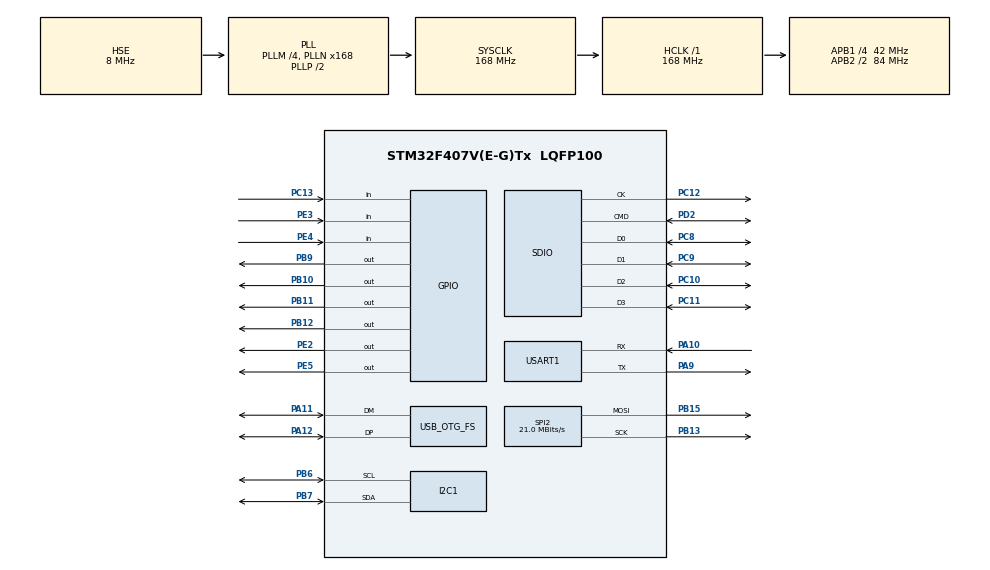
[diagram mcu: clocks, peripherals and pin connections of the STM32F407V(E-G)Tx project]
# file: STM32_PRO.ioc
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Dma.Request0=USART1_TX
Dma.Request1=USART1_RX
Dma.Request2=SPI2_TX
Dma.SPI2_TX.2.Direction=DMA_MEMORY_TO_PERIPH
Dma.SPI2_TX.2.FIFOMode=DMA_FIFOMODE_DISABLE
Dma.SPI2_TX.2.Instance=DMA1_Stream4
Dma.SPI2_TX.2.MemDataAlignment=DMA_MDATAALIGN_BYTE
Dma.SPI2_TX.2.MemInc=DMA_MINC_ENABLE
Dma.SPI2_TX.2.Mode=DMA_NORMAL
Dma.SPI2_TX.2.PeriphDataAlignment=DMA_PDATAALIGN_BYTE
Dma.SPI2_TX.2.PeriphInc=DMA_PINC_DISABLE
Dma.SPI2_TX.2.Priority=DMA_PRIORITY_LOW
Dma.USART1_RX.1.Direction=DMA_PERIPH_TO_MEMORY
Dma.USART1_RX.1.FIFOMode=DMA_FIFOMODE_DISABLE
Dma.USART1_RX.1.Instance=DMA2_Stream2
Dma.USART1_RX.1.MemDataAlignment=DMA_MDATAALIGN_BYTE
Dma.USART1_RX.1.MemInc=DMA_MINC_ENABLE
Dma.USART1_RX.1.Mode=DMA_NORMAL
Dma.USART1_RX.1.PeriphDataAlignment=DMA_PDATAALIGN_BYTE
Dma.USART1_RX.1.PeriphInc=DMA_PINC_DISABLE
Dma.USART1_RX.1.Priority=DMA_PRIORITY_LOW
Dma.USART1_TX.0.Direction=DMA_MEMORY_TO_PERIPH
Dma.USART1_TX.0.FIFOMode=DMA_FIFOMODE_DISABLE
Dma.USART1_TX.0.Instance=DMA2_Stream7
Dma.USART1_TX.0.MemDataAlignment=DMA_MDATAALIGN_BYTE
Dma.USART1_TX.0.MemInc=DMA_MINC_ENABLE
Dma.USART1_TX.0.Mode=DMA_NORMAL
Dma.USART1_TX.0.PeriphDataAlignment=DMA_PDATAALIGN_BYTE
Dma.USART1_TX.0.PeriphInc=DMA_PINC_DISABLE
Dma.USART1_TX.0.Priority=DMA_PRIORITY_LOW
FATFS.BSP.number=1
FATFS._CODE_PAGE=437
FATFS._USE_LFN=2
FATFS0.BSP.STBoard=false
FATFS0.BSP.api=Unknown
FATFS0.BSP.i2caddr=0
FATFS0.BSP.instance=PC13-ANTI_TAMP
FATFS0.BSP.ip=GPIO
FATFS0.BSP.mode=Input
FATFS0.BSP.name=Detect_SDIO
FATFS0.BSP.solution=PC13-ANTI_TAMP
FREERTOS.Tasks01=defaultTask,0,128,StartDefaultTask,Default,NULL,Dynamic,NULL,NULL
Mcu.Family=STM32F4
Mcu.Name=STM32F407V(E-G)Tx
Mcu.Package=LQFP100
NVIC.DMA1_Stream4_IRQn=true\:5\:0\:false\:false\:true\:true\:false\:true
NVIC.DMA2_Stream2_IRQn=true\:5\:0\:false\:false\:true\:true\:false\:true
NVIC.DMA2_Stream7_IRQn=true\:5\:0\:false\:false\:true\:true\:false\:true
NVIC.OTG_FS_IRQn=true\:5\:0\:false\:false\:true\:true\:false\:true
NVIC.PriorityGroup=NVIC_PRIORITYGROUP_4
NVIC.TIM1_UP_TIM10_IRQn=true\:15\:0\:false\:false\:true\:false\:false\:true
NVIC.TimeBase=TIM1_UP_TIM10_IRQn
NVIC.TimeBaseIP=TIM10
NVIC.USART1_IRQn=true\:5\:0\:false\:false\:true\:true\:true\:true
PA10.Mode=Asynchronous
PA10.Signal=USART1_RX
PA11.Mode=Device_Only
PA11.Signal=USB_OTG_FS_DM
PA12.Mode=Device_Only
PA12.Signal=USB_OTG_FS_DP
PA13.Mode=Serial_Wire
PA13.Signal=SYS_JTMS-SWDIO
PA14.Mode=Serial_Wire
PA14.Signal=SYS_JTCK-SWCLK
PA9.Mode=Asynchronous
PA9.Signal=USART1_TX
PB10.Signal=GPIO_Output
PB11.Signal=GPIO_Output
PB12.Signal=GPIO_Output
PB13.Mode=TX_Only_Simplex_Unidirect_Master
PB13.Signal=SPI2_SCK
PB15.Mode=TX_Only_Simplex_Unidirect_Master
PB15.Signal=SPI2_MOSI
PB6.Mode=I2C
PB6.Signal=I2C1_SCL
PB7.Mode=I2C
PB7.Signal=I2C1_SDA
PB9.Signal=GPIO_Output
PC10.Mode=SD_4_bits_Wide_bus
PC10.Signal=SDIO_D2
PC11.Mode=SD_4_bits_Wide_bus
PC11.Signal=SDIO_D3
PC12.Mode=SD_4_bits_Wide_bus
PC12.Signal=SDIO_CK
PC13-ANTI_TAMP.GPIO_PuPd=GPIO_PULLDOWN
PC13-ANTI_TAMP.Signal=GPIO_Input
PC8.Mode=SD_4_bits_Wide_bus
PC8.Signal=SDIO_D0
PC9.Mode=SD_4_bits_Wide_bus
PC9.Signal=SDIO_D1
PD2.Mode=SD_4_bits_Wide_bus
PD2.Signal=SDIO_CMD
PE2.Signal=GPIO_Output
PE3.Signal=GPIO_Input
PE4.Signal=GPIO_Input
PE5.Signal=GPIO_Output
PH0-OSC_IN.Mode=HSE-External-Oscillator
PH0-OSC_IN.Signal=RCC_OSC_IN
PH1-OSC_OUT.Mode=HSE-External-Oscillator
PH1-OSC_OUT.Signal=RCC_OSC_OUT
ProjectManager.HeapSize=0x3000
ProjectManager.StackSize=0x3000
ProjectManager.TargetToolchain=MDK-ARM V5.32
RCC.48MHZClocksFreq_Value=48000000
RCC.AHBFreq_Value=168000000
RCC.APB1CLKDivider=RCC_HCLK_DIV4
RCC.APB1Freq_Value=42000000
RCC.APB1TimFreq_Value=84000000
RCC.APB2CLKDivider=RCC_HCLK_DIV2
RCC.APB2Freq_Value=84000000
RCC.APB2TimFreq_Value=168000000
RCC.CortexFreq_Value=168000000
RCC.HCLKFreq_Value=168000000
RCC.HSE_VALUE=8000000
RCC.HSI_VALUE=16000000
RCC.LSE_VALUE=32768
RCC.PLLM=4
RCC.PLLN=168
RCC.PLLQ=7
RCC.SYSCLKFreq_VALUE=168000000
RCC.SYSCLKSource=RCC_SYSCLKSOURCE_PLLCLK
RCC.VCOOutputFreq_Value=336000000
SDIO.ClockDiv=8
SPI2.BaudRatePrescaler=SPI_BAUDRATEPRESCALER_2
SPI2.CLKPhase=SPI_PHASE_1EDGE
SPI2.CLKPolarity=SPI_POLARITY_LOW
SPI2.CalculateBaudRate=21.0 MBits/s
SPI2.DataSize=SPI_DATASIZE_8BIT
SPI2.Direction=SPI_DIRECTION_2LINES
SPI2.Mode=SPI_MODE_MASTER
SPI2.VirtualType=VM_MASTER
USART1.VirtualMode=VM_ASYNC
USB_DEVICE.CLASS_NAME_FS=CDC
USB_DEVICE.VirtualMode-CDC_FS=Cdc
USB_DEVICE.VirtualModeFS=Cdc_FS
USB_OTG_FS.VirtualMode=Device_Only
VP_FATFS_VS_SDIO.Mode=SDIO
VP_FREERTOS_VS_CMSIS_V1.Mode=CMSIS_V1
VP_SYS_VS_tim10.Mode=TIM10
VP_USB_DEVICE_VS_USB_DEVICE_CDC_FS.Mode=CDC_FS
board=custom

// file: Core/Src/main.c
/* USER CODE BEGIN Header */
/**
  ******************************************************************************
  * @file           : main.c
  * @brief          : Main program body
  ******************************************************************************
  * @attention
  *
  * Copyright (c) 2022 STMicroelectronics.
  * All rights reserved.
  *
  * This software is licensed under terms that can be found in the LICENSE file
  * in the root directory of this software component.
  * If no LICENSE file comes with this software, it is provided AS-IS.
  *
  ******************************************************************************
  */
/* USER CODE END Header */
#include "main.h"
#include "cmsis_os.h"
#include "dma.h"
#include "fatfs.h"
#include "i2c.h"
#include "sdio.h"
#include "spi.h"
#include "usart.h"
#include "usb_device.h"
#include "gpio.h"

/* USER CODE BEGIN Includes */
#include "My_usart.h"
#include "my_fat.h"
#include "cJSON.h"
#include "oled.h"
#include "mytask.h"
#include "usb.h"
#include "delay.h"

/* USER CODE END Includes */

void SystemClock_Config(void);
void MX_FREERTOS_Init(void);

/* USER CODE BEGIN 0 */
//FATFS MyDr;
//char *myjson = "myfile/mydata.json";
//char filebuffer[400];//存储文件内容
//unsigned int bytenum;
//FIL file;
//int jsondata;
uint8_t receive_buff[255];                //定义接收数组

/* USER CODE END 0 */

int main(void)
{
  /* USER CODE BEGIN 1 */
	//cJSON *root = NULL,*item=NULL;
  /* USER CODE END 1 */

  /* MCU Configuration--------------------------------------------------------*/

  /* Reset of all peripherals, Initializes the Flash interface and the Systick. */
  HAL_Init();

  /* USER CODE BEGIN Init */
	USB_Reset();
  /* USER CODE END Init */

  /* Configure the system clock */
  SystemClock_Config();

  /* Initialize all configured peripherals */
  MX_GPIO_Init();
  MX_DMA_Init();
  MX_USART1_UART_Init();
  MX_SPI2_Init();
  MX_SDIO_SD_Init();
  MX_FATFS_Init();
  MX_I2C1_Init();
  /* USER CODE BEGIN 2 */
  __HAL_UART_ENABLE_IT(&huart1, UART_IT_IDLE);  // 使能串口空闲中断
  HAL_UART_Receive_DMA(&huart1, (uint8_t*)receive_buff, 255);     //设置DMA传输，将串口1的数据搬运到recvive_buf

	delay_init(168);
	//
	Init_ssd1327();
	OLED_Clear(0,0,128,128,0x00);
//	OLED_ShowString(0,0,"OLED_W:128",16);
//	OLED_ShowString(0,16,"OLED_H:128",16);

	HAL_Delay(1000);
//	for(uint16_t i=0;i<sizeof(filebuffer);i++)
//		filebuffer[i]=0;
//	if(f_mount(&MyDr,"0:",1)==FR_OK) printf("file mount OK!\r\n");
//	f_open(&file,myjson,FA_READ);//打开文件
//	f_read(&file,&filebuffer,sizeof(filebuffer),&bytenum);
//	f_close(&file);

	Wifi_CreateTask();
  /* USER CODE END 2 */

  /* Call init function for freertos objects (in freertos.c) */
  MX_FREERTOS_Init();
  /* Start scheduler */
  osKernelStart();

  /* We should never get here as control is now taken by the scheduler */
  /* Infinite loop */
  while (1)
  {

    /* USER CODE BEGIN 3 */
//		bytenum = Fat_readTxt(myfilename,filebuffer);

//			for(int i=0;i<bytenum;i++) printf("%c",filebuffer[i]);
//			printf("\r\n");
//			printf("解析json \r\n");
//		root=cJSON_Parse(filebuffer);//解析json
//		item=cJSON_GetObjectItem(root,"Type");
//		jsondata = item->valueint;
//		printf("cJSON_GetObjectItem: type=%d, key is %s, value is %d\n",item->type,item->string,jsondata);
//		if(item!=NULL)
//		{
//			printf("cJSON_GetObjectItem: type=%d, key is %s, value is %s\n",item->type,item->string,item->valuestring);
//			//memcpy(str_val,item->valuestring,strlen(item->valuestring));
//		}

//		cJSON_Delete(root);
			//printf("hello \r\n");
//			if(USART_SendCmd("AT\r\n","OK")==0)
//			{
//				HAL_GPIO_WritePin(GPIOE,GPIO_PIN_5,GPIO_PIN_RESET);
//				//HAL_GPIO_TogglePin(GPIOE,GPIO_PIN_5);
//			}
//			HAL_GPIO_TogglePin(GPIOE,GPIO_PIN_2);
//			//USB_Printf("hello world %d\r\n",123);
//			HAL_Delay(500);
  }

  /* USER CODE END 3 */
}

void SystemClock_Config(void)
{
  RCC_OscInitTypeDef RCC_OscInitStruct = {0};
  RCC_ClkInitTypeDef RCC_ClkInitStruct = {0};

  /** Configure the main internal regulator output voltage
  */
  __HAL_RCC_PWR_CLK_ENABLE();
  __HAL_PWR_VOLTAGESCALING_CONFIG(PWR_REGULATOR_VOLTAGE_SCALE1);
  /** Initializes the RCC Oscillators according to the specified parameters
  * in the RCC_OscInitTypeDef structure.
  */
  RCC_OscInitStruct.OscillatorType = RCC_OSCILLATORTYPE_HSE;
  RCC_OscInitStruct.HSEState = RCC_HSE_ON;
  RCC_OscInitStruct.PLL.PLLState = RCC_PLL_ON;
  RCC_OscInitStruct.PLL.PLLSource = RCC_PLLSOURCE_HSE;
  RCC_OscInitStruct.PLL.PLLM = 4;
  RCC_OscInitStruct.PLL.PLLN = 168;
  RCC_OscInitStruct.PLL.PLLP = RCC_PLLP_DIV2;
  RCC_OscInitStruct.PLL.PLLQ = 7;
  if (HAL_RCC_OscConfig(&RCC_OscInitStruct) != HAL_OK)
  {
    Error_Handler();
  }
  /** Initializes the CPU, AHB and APB buses clocks
  */
  RCC_ClkInitStruct.ClockType = RCC_CLOCKTYPE_HCLK|RCC_CLOCKTYPE_SYSCLK
                              |RCC_CLOCKTYPE_PCLK1|RCC_CLOCKTYPE_PCLK2;
  RCC_ClkInitStruct.SYSCLKSource = RCC_SYSCLKSOURCE_PLLCLK;
  RCC_ClkInitStruct.AHBCLKDivider = RCC_SYSCLK_DIV1;
  RCC_ClkInitStruct.APB1CLKDivider = RCC_HCLK_DIV4;
  RCC_ClkInitStruct.APB2CLKDivider = RCC_HCLK_DIV2;

  if (HAL_RCC_ClockConfig(&RCC_ClkInitStruct, FLASH_LATENCY_5) != HAL_OK)
  {
    Error_Handler();
  }
}

void HAL_TIM_PeriodElapsedCallback(TIM_HandleTypeDef *htim)
{
  if (htim->Instance == TIM10) {
    HAL_IncTick();
  }
}

void Error_Handler(void)
{
  __disable_irq();
  while (1)
  {
  }
}

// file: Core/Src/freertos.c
/* USER CODE BEGIN Header */
/**
  ******************************************************************************
  * File Name          : freertos.c
  * Description        : Code for freertos applications
  ******************************************************************************
  * @attention
  *
  * Copyright (c) 2022 STMicroelectronics.
  * All rights reserved.
  *
  * This software is licensed under terms that can be found in the LICENSE file
  * in the root directory of this software component.
  * If no LICENSE file comes with this software, it is provided AS-IS.
  *
  ******************************************************************************
  */
/* USER CODE END Header */

#include "FreeRTOS.h"
#include "task.h"
#include "main.h"
#include "cmsis_os.h"

osThreadId defaultTaskHandle;

void StartDefaultTask(void const * argument);

extern void MX_USB_DEVICE_Init(void);
void MX_FREERTOS_Init(void); /* (MISRA C 2004 rule 8.1) */

/* GetIdleTaskMemory prototype (linked to static allocation support) */
void vApplicationGetIdleTaskMemory( StaticTask_t **ppxIdleTaskTCBBuffer, StackType_t **ppxIdleTaskStackBuffer, uint32_t *pulIdleTaskStackSize );

/* USER CODE BEGIN GET_IDLE_TASK_MEMORY */
static StaticTask_t xIdleTaskTCBBuffer;
static StackType_t xIdleStack[configMINIMAL_STACK_SIZE];

void vApplicationGetIdleTaskMemory( StaticTask_t **ppxIdleTaskTCBBuffer, StackType_t **ppxIdleTaskStackBuffer, uint32_t *pulIdleTaskStackSize )
{
  *ppxIdleTaskTCBBuffer = &xIdleTaskTCBBuffer;
  *ppxIdleTaskStackBuffer = &xIdleStack[0];
  *pulIdleTaskStackSize = configMINIMAL_STACK_SIZE;
  /* place for user code */
}
/* USER CODE END GET_IDLE_TASK_MEMORY */

void MX_FREERTOS_Init(void) {

  /* Create the thread(s) */
  /* definition and creation of defaultTask */
  osThreadDef(defaultTask, StartDefaultTask, osPriorityNormal, 0, 128);
  defaultTaskHandle = osThreadCreate(osThread(defaultTask), NULL);

}

void StartDefaultTask(void const * argument)
{
  /* init code for USB_DEVICE */
  MX_USB_DEVICE_Init();
  for(;;)
  {
    osDelay(1);
  }
}
